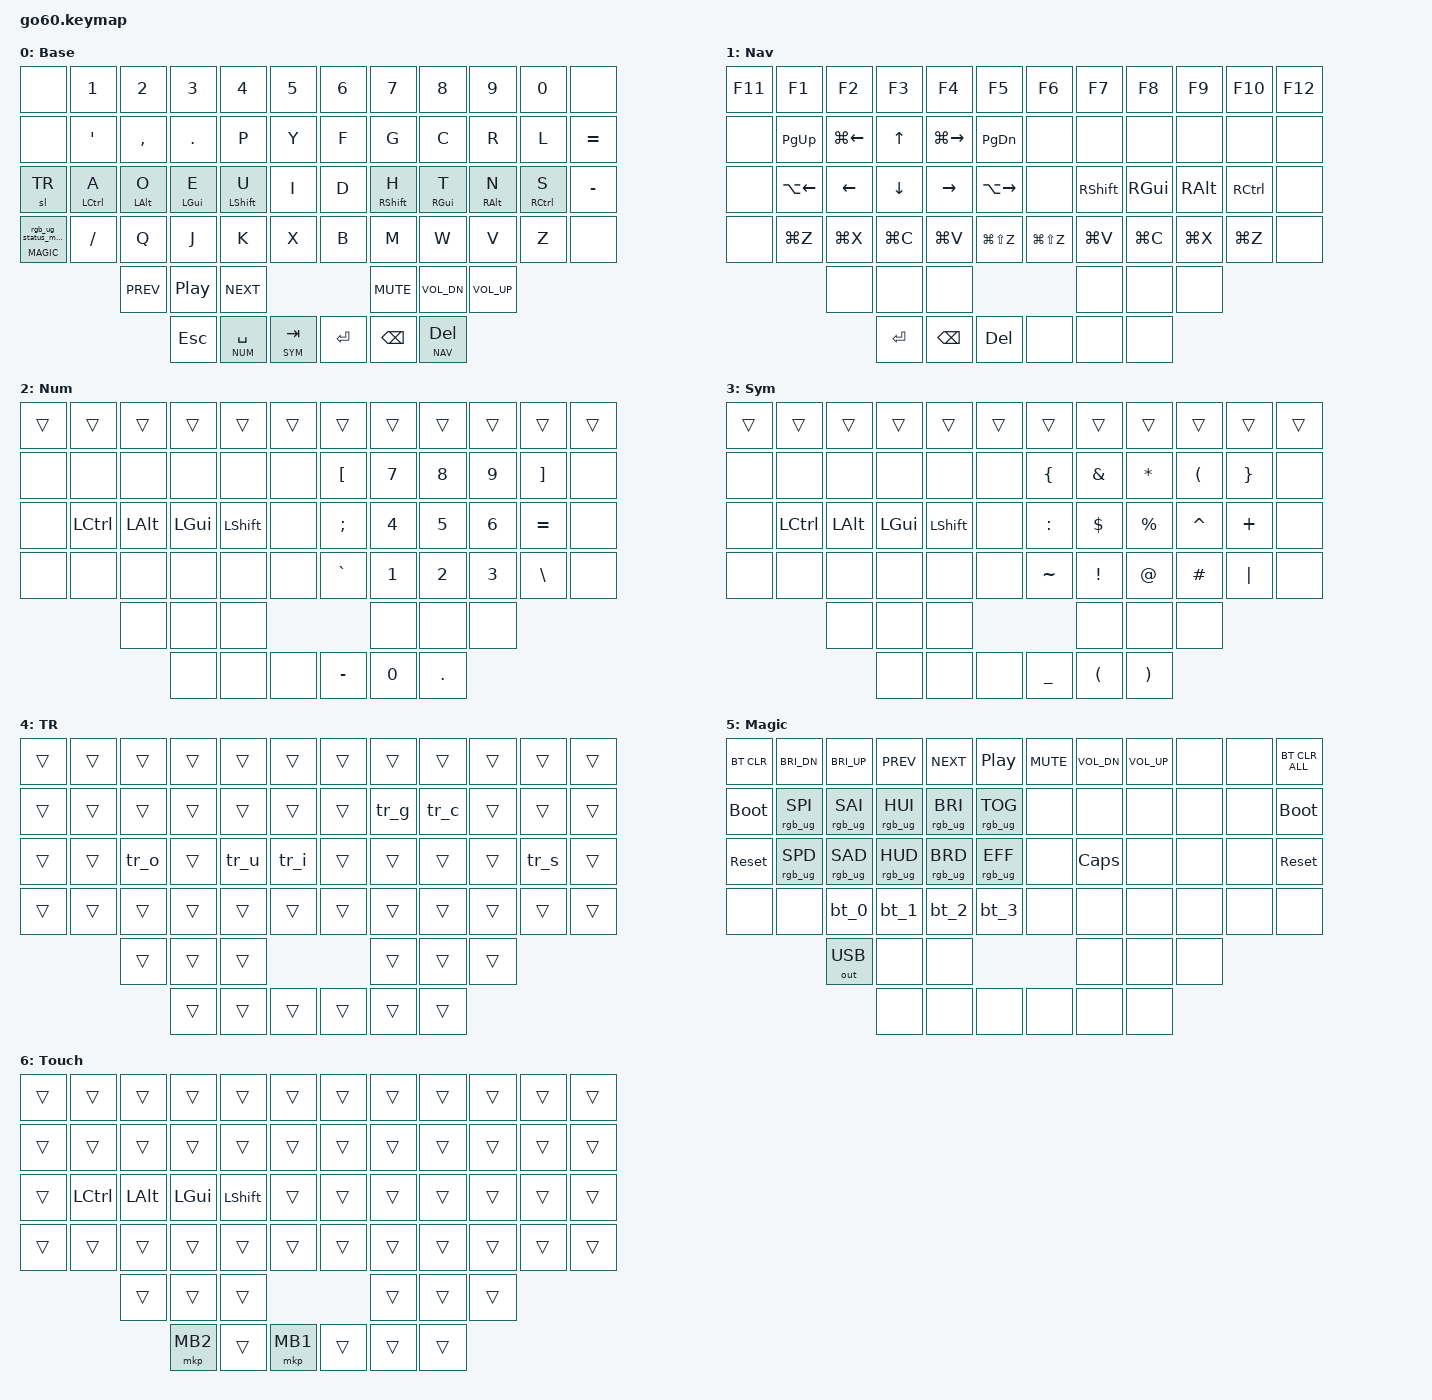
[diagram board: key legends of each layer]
/*
 * Copyright (c) 2020 The ZMK Contributors
 *
 * SPDX-License-Identifier: MIT
 */

#include <behaviors.dtsi>

#include <dt-bindings/zmk/bt.h>
#include <dt-bindings/zmk/keys.h>
#include <dt-bindings/zmk/outputs.h>
#include <dt-bindings/zmk/rgb.h>
#include <dt-bindings/zmk/input_transform.h>
#include <dt-bindings/zmk/pointing.h>

#include <input/processors.dtsi>
#include <zephyr/dt-bindings/input/input-event-codes.h>

// Layer indices
#define BASE  0
#define NAV   1
#define NUM   2
#define SYM   3
#define TR    4
#define MAGIC 5
#define TOUCH 6

// macOS clipboard shortcuts (change LG to LC for Linux/Windows)
#define U_UNDO LG(Z)
#define U_REDO LG(LS(Z))
#define U_CUT  LG(X)
#define U_COPY LG(C)
#define U_PSTE LG(V)

#define XXX &none
#define ___ &trans

// Turkish letters via the macOS "ABC – Extended" input source: an Option
// dead key, then the letter (⌥c then s = ş). Identical to U.S. otherwise,
// and unlike Unicode Hex Input it keeps Option+Backspace and Option+arrows.
#define DK(name, dead, letter) \
    name: name { \
        compatible = "zmk,behavior-macro"; \
        #binding-cells = <0>; \
        tap-ms = <5>; \
        wait-ms = <5>; \
        bindings = <&kp dead &kp letter>; \
    };

// Lowercase on tap, the given capital with Shift
#define TR_KEY(name, lower, upper) \
    name: name { \
        compatible = "zmk,behavior-mod-morph"; \
        #binding-cells = <0>; \
        bindings = <&lower>, <&upper>; \
        mods = <(MOD_LSFT|MOD_RSFT)>; \
    };

/*
 * Go60 key positions:
 *
 *   0  1  2  3  4  5 |  6  7  8  9 10 11
 *  12 13 14 15 16 17 | 18 19 20 21 22 23
 *  24 25 26 27 28 29 | 30 31 32 33 34 35
 *  36 37 38 39 40 41 | 42 43 44 45 46 47
 *        48 49 50    |    51 52 53
 *           54 55 56 | 57 58 59
 *
 * The 3x5 core is 13-17/18-22, 25-29/30-34 and 37-41/42-46; thumbs 54-59.
 */

/ {
    input_processors {
        zip_click_to_right_click_mapper: zip_click_to_right_click_mapper {
            compatible = "zmk,input-processor-code-mapper";
            #input-processor-cells = <0>;
            type = <INPUT_EV_KEY>;
            map = <INPUT_BTN_0 INPUT_BTN_1>;
        };
    };

    behaviors {
        // Bottom-left corner (MoErgo's Magic key): tap shows battery,
        // Bluetooth and layer status on the LEDs, hold opens MAGIC
        magic: magic {
            compatible = "zmk,behavior-hold-tap";
            #binding-cells = <2>;
            flavor = "tap-preferred";
            tapping-term-ms = <200>;
            bindings = <&mo>, <&rgb_ug_status_macro>;
        };

        // Positional homerow mods: only trigger as mod when paired with a
        // key on the OPPOSITE hand. Stops same-hand rolls (e.g. typing
        // "as", "th") from misfiring as Ctrl/Alt/GUI/Shift.
        hml: homerow_mods_left {
            compatible = "zmk,behavior-hold-tap";
            #binding-cells = <2>;
            flavor = "balanced";
            tapping-term-ms = <280>;
            quick-tap-ms = <175>;
            require-prior-idle-ms = <150>;
            hold-trigger-on-release;
            hold-trigger-key-positions = <
                24
                 6  7  8  9 10 11
                18 19 20 21 22 23
                30 31 32 33 34 35
                42 43 44 45 46 47
                51 52 53
                57 58 59
            >;
            bindings = <&kp>, <&kp>;
        };
        hmr: homerow_mods_right {
            compatible = "zmk,behavior-hold-tap";
            #binding-cells = <2>;
            flavor = "balanced";
            tapping-term-ms = <280>;
            quick-tap-ms = <175>;
            require-prior-idle-ms = <150>;
            hold-trigger-on-release;
            hold-trigger-key-positions = <
                 0  1  2  3  4  5
                12 13 14 15 16 17
                24 25 26 27 28 29
                36 37 38 39 40 41
                48 49 50
                54 55 56
            >;
            bindings = <&kp>, <&kp>;
        };

        // MoErgo's Bluetooth keys: tap selects the profile (and switches
        // output to Bluetooth), double-tap disconnects it
        bt_0: bt_0 {
            compatible = "zmk,behavior-tap-dance";
            #binding-cells = <0>;
            tapping-term-ms = <200>;
            bindings = <&bt_select_0>, <&bt BT_DISC 0>;
        };
        bt_1: bt_1 {
            compatible = "zmk,behavior-tap-dance";
            #binding-cells = <0>;
            tapping-term-ms = <200>;
            bindings = <&bt_select_1>, <&bt BT_DISC 1>;
        };
        bt_2: bt_2 {
            compatible = "zmk,behavior-tap-dance";
            #binding-cells = <0>;
            tapping-term-ms = <200>;
            bindings = <&bt_select_2>, <&bt BT_DISC 2>;
        };
        bt_3: bt_3 {
            compatible = "zmk,behavior-tap-dance";
            #binding-cells = <0>;
            tapping-term-ms = <200>;
            bindings = <&bt_select_3>, <&bt BT_DISC 3>;
        };

        TR_KEY(tr_c, dk_c_lo, dk_c_up)
        TR_KEY(tr_g, dk_g_lo, dk_g_up)
        TR_KEY(tr_i, dk_i_dotless, dk_i_dotted_up)
        TR_KEY(tr_o, dk_o_lo, dk_o_up)
        TR_KEY(tr_s, dk_s_lo, dk_s_up)
        TR_KEY(tr_u, dk_u_lo, dk_u_up)
    };

    macros {
        rgb_ug_status_macro: rgb_ug_status_macro {
            compatible = "zmk,behavior-macro";
            #binding-cells = <0>;
            bindings = <&rgb_ug RGB_STATUS>;
        };

        bt_select_0: bt_select_0 {
            compatible = "zmk,behavior-macro";
            #binding-cells = <0>;
            bindings = <&out OUT_BLE>, <&bt BT_SEL 0>;
        };
        bt_select_1: bt_select_1 {
            compatible = "zmk,behavior-macro";
            #binding-cells = <0>;
            bindings = <&out OUT_BLE>, <&bt BT_SEL 1>;
        };
        bt_select_2: bt_select_2 {
            compatible = "zmk,behavior-macro";
            #binding-cells = <0>;
            bindings = <&out OUT_BLE>, <&bt BT_SEL 2>;
        };
        bt_select_3: bt_select_3 {
            compatible = "zmk,behavior-macro";
            #binding-cells = <0>;
            bindings = <&out OUT_BLE>, <&bt BT_SEL 3>;
        };

        DK(dk_c_lo, LA(C), C)             // ç
        DK(dk_c_up, LA(C), LS(C))         // Ç
        DK(dk_g_lo, LA(B), G)             // ğ
        DK(dk_g_up, LA(B), LS(G))         // Ğ
        DK(dk_i_dotless, LA(W), I)        // ı
        DK(dk_i_dotted_up, LA(W), LS(I))  // İ (Shift+i on Base already gives I)
        DK(dk_o_lo, LA(U), O)             // ö
        DK(dk_o_up, LA(U), LS(O))         // Ö
        DK(dk_s_lo, LA(C), S)             // ş
        DK(dk_s_up, LA(C), LS(S))         // Ş
        DK(dk_u_lo, LA(U), U)             // ü
        DK(dk_u_up, LA(U), LS(U))         // Ü
    };

    combos {
        compatible = "zmk,combos";
        // Both home-row shifts: Caps Word (Caps Lock is MAGIC + h)
        combo_caps {
            timeout-ms = <50>;
            key-positions = <28 31>;
            bindings = <&caps_word>;
            layers = <BASE>;
        };
    };

    keymap {
        compatible = "zmk,keymap";

        base_layer {
            display-name = "Base";
            bindings = <
XXX             &kp N1          &kp N2          &kp N3          &kp N4          &kp N5          &kp N6          &kp N7          &kp N8          &kp N9          &kp N0          XXX
XXX             &kp SQT         &kp COMMA       &kp DOT         &kp P           &kp Y           &kp F           &kp G           &kp C           &kp R           &kp L           &kp EQUAL
&sl TR          &hml LCTRL A    &hml LALT O     &hml LGUI E     &hml LSHFT U    &kp I           &kp D           &hmr RSHFT H    &hmr RGUI T     &hmr RALT N     &hmr RCTRL S    &kp MINUS
&magic MAGIC 0  &kp FSLH        &kp Q           &kp J           &kp K           &kp X           &kp B           &kp M           &kp W           &kp V           &kp Z           XXX
                                &kp C_PREV      &kp C_PP        &kp C_NEXT                                      &kp C_MUTE      &kp C_VOL_DN    &kp C_VOL_UP
                                                &kp ESC         &lt NUM SPACE   &lt SYM TAB     &kp RET         &kp BSPC        &lt NAV DEL
            >;
        };

        nav_layer {
            display-name = "Nav";
            bindings = <
&kp F11         &kp F1          &kp F2          &kp F3          &kp F4          &kp F5          &kp F6          &kp F7          &kp F8          &kp F9          &kp F10         &kp F12
XXX             &kp PG_UP       &kp LG(LEFT)    &kp UP          &kp LG(RIGHT)   &kp PG_DN       XXX             XXX             XXX             XXX             XXX             XXX
XXX             &kp LA(LEFT)    &kp LEFT        &kp DOWN        &kp RIGHT       &kp LA(RIGHT)   XXX             &kp RSHFT       &kp RGUI        &kp RALT        &kp RCTRL       XXX
XXX             &kp U_UNDO      &kp U_CUT       &kp U_COPY      &kp U_PSTE      &kp U_REDO      &kp U_REDO      &kp U_PSTE      &kp U_COPY      &kp U_CUT       &kp U_UNDO      XXX
                                XXX             XXX             XXX                                             XXX             XXX             XXX
                                                &kp RET         &kp BSPC        &kp DEL         XXX             XXX             XXX
            >;
        };

        num_layer {
            display-name = "Num";
            bindings = <
___             ___             ___             ___             ___             ___             ___             ___             ___             ___             ___             ___
XXX             XXX             XXX             XXX             XXX             XXX             &kp LBKT        &kp N7          &kp N8          &kp N9          &kp RBKT        XXX
XXX             &kp LCTRL       &kp LALT        &kp LGUI        &kp LSHFT       XXX             &kp SEMI        &kp N4          &kp N5          &kp N6          &kp EQUAL       XXX
XXX             XXX             XXX             XXX             XXX             XXX             &kp GRAVE       &kp N1          &kp N2          &kp N3          &kp BSLH        XXX
                                XXX             XXX             XXX                                             XXX             XXX             XXX
                                                XXX             XXX             XXX             &kp MINUS       &kp N0          &kp DOT
            >;
        };

        sym_layer {
            display-name = "Sym";
            bindings = <
___             ___             ___             ___             ___             ___             ___             ___             ___             ___             ___             ___
XXX             XXX             XXX             XXX             XXX             XXX             &kp LBRC        &kp AMPS        &kp ASTRK       &kp LPAR        &kp RBRC        XXX
XXX             &kp LCTRL       &kp LALT        &kp LGUI        &kp LSHFT       XXX             &kp COLON       &kp DLLR        &kp PRCNT       &kp CARET       &kp PLUS        XXX
XXX             XXX             XXX             XXX             XXX             XXX             &kp TILDE       &kp EXCL        &kp AT          &kp HASH        &kp PIPE        XXX
                                XXX             XXX             XXX                                             XXX             XXX             XXX
                                                XXX             XXX             XXX             &kp UNDER       &kp LPAR        &kp RPAR
            >;
        };

        tr_layer {
            display-name = "TR";
            bindings = <
___             ___             ___             ___             ___             ___             ___             ___             ___             ___             ___             ___
___             ___             ___             ___             ___             ___             ___             &tr_g           &tr_c           ___             ___             ___
___             ___             &tr_o           ___             &tr_u           &tr_i           ___             ___             ___             ___             &tr_s           ___
___             ___             ___             ___             ___             ___             ___             ___             ___             ___             ___             ___
                                ___             ___             ___                                             ___             ___             ___
                                                ___             ___             ___             ___             ___             ___
            >;
        };

        magic_layer {
            display-name = "Magic";
            bindings = <
&bt BT_CLR      &kp C_BRI_DN    &kp C_BRI_UP    &kp C_PREV      &kp C_NEXT      &kp C_PP        &kp C_MUTE      &kp C_VOL_DN    &kp C_VOL_UP    XXX             XXX             &bt BT_CLR_ALL
&bootloader     &rgb_ug RGB_SPI &rgb_ug RGB_SAI &rgb_ug RGB_HUI &rgb_ug RGB_BRI &rgb_ug RGB_TOG XXX             XXX             XXX             XXX             XXX             &bootloader
&sys_reset      &rgb_ug RGB_SPD &rgb_ug RGB_SAD &rgb_ug RGB_HUD &rgb_ug RGB_BRD &rgb_ug RGB_EFF XXX             &kp CAPS        XXX             XXX             XXX             &sys_reset
XXX             XXX             &bt_0           &bt_1           &bt_2           &bt_3           XXX             XXX             XXX             XXX             XXX             XXX
                                &out OUT_USB    XXX             XXX                                             XXX             XXX             XXX
                                                XXX             XXX             XXX             XXX             XXX             XXX
            >;
        };

        touch_layer {
            display-name = "Touch";
            bindings = <
___             ___             ___             ___             ___             ___             ___             ___             ___             ___             ___             ___
___             ___             ___             ___             ___             ___             ___             ___             ___             ___             ___             ___
___             &kp LCTRL       &kp LALT        &kp LGUI        &kp LSHFT       ___             ___             ___             ___             ___             ___             ___
___             ___             ___             ___             ___             ___             ___             ___             ___             ___             ___             ___
                                ___             ___             ___                                             ___             ___             ___
                                                &mkp MB2        ___             &mkp MB1        ___             ___             ___
            >;
        };
    };
};

// Right touchpad moves the cursor and turns on TOUCH while in use; left
// touchpad scrolls (tap = right click). Scroll is inverted on both axes so
// it matches the Mac trackpad with macOS natural scrolling on (macOS
// applies that setting to mice too).
&cirque_rh_listener {
    input-processors = <&zip_xy_scaler 2 1>, <&zip_temp_layer TOUCH 500>;
};

&cirque_lh_listener {
    input-processors = <&zip_xy_to_scroll_mapper>, <&zip_xy_scaler 1 16>, <&zip_scroll_transform (INPUT_TRANSFORM_X_INVERT | INPUT_TRANSFORM_Y_INVERT)>, <&zip_click_to_right_click_mapper>;
};

// TOUCH only turns on after 300 ms without typing, so brushing the pad
// mid-sentence does nothing. Any key other than its mods and clicks turns
// it off again.
&zip_temp_layer {
    require-prior-idle-ms = <300>;
    excluded-positions = <25 26 27 28 54 56>;
};

// Tap the TR key, then the letter; 2 s to press it before the layer drops
&sl {
    release-after-ms = <2000>;
};
